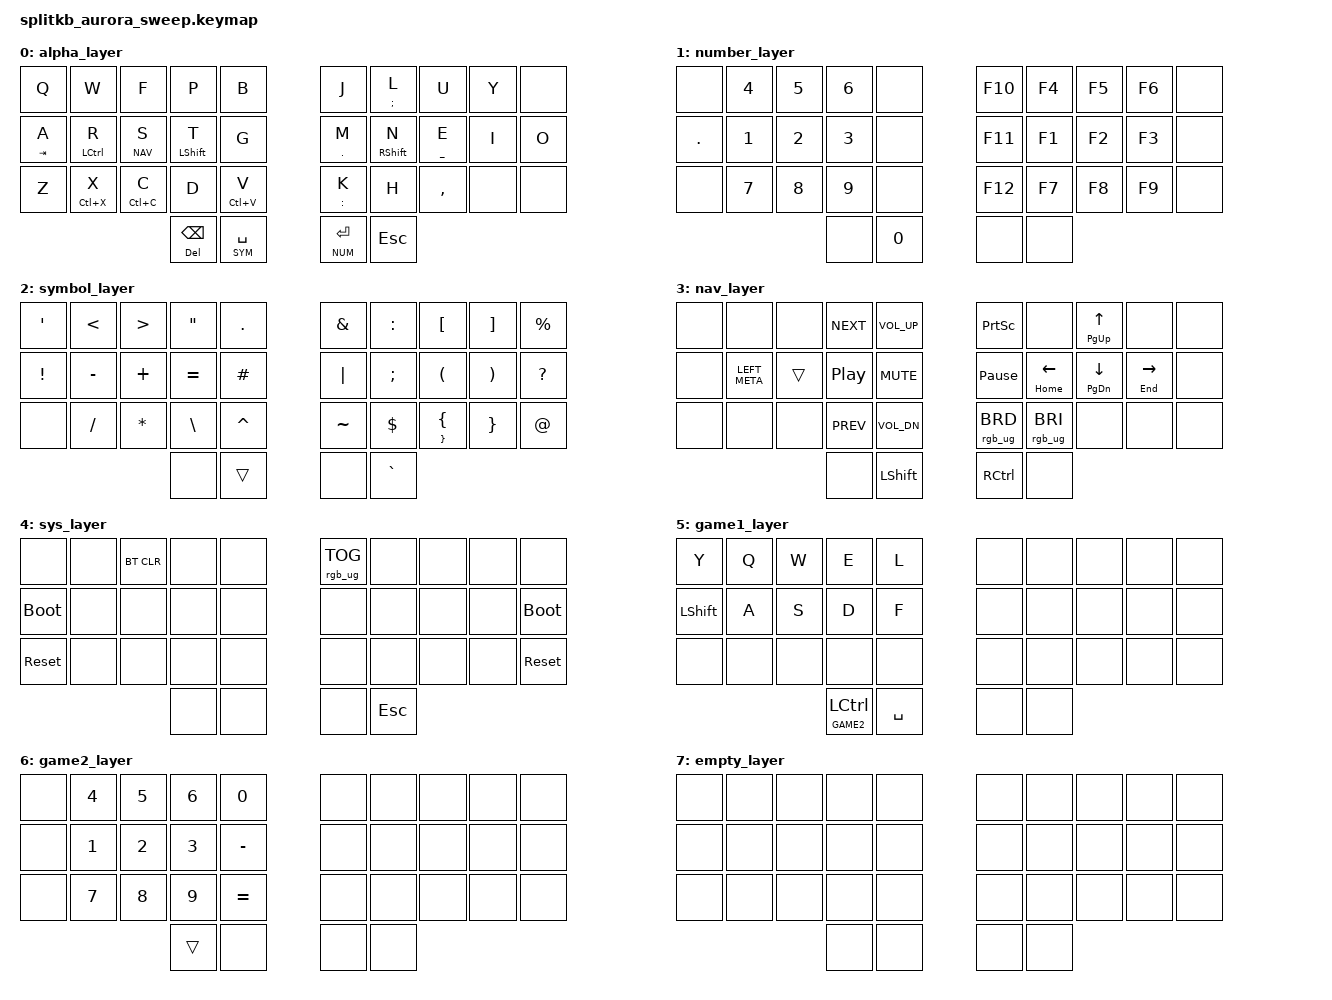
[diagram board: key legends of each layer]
#include <behaviors.dtsi>
// Key Macros
#include <dt-bindings/zmk/keys.h>
// Behavior Macros
#include <dt-bindings/zmk/bt.h>
// Underglow Macros
#include <dt-bindings/zmk/rgb.h>
// Backlight Macros
#include <dt-bindings/zmk/backlight.h>

/*
Codes (https://zmk.dev/docs/codes)
Behaviors (https://zmk.dev/docs/behaviors)
    Keys
        `&kp <ID>` Key Press
        `&mt <ID1> <ID2>` Mod Tap
            Tap to send ID2, Hold to send ID1
        `&kt <ID>` Key Toggle
            e.g. `&kt LA(TAB)` would toggle TAB by sending ALT+TAB
        `&sk <ID>` Sticky Key
            e.g. `&sk LSHIFT` stick SHIFT until another key is pressed
            note: this releases the layer when another key is pressed (not released)
        `&gresc` Grave Escape; sends ` (grave accent) if shift or GUI is held, otherwise sends ESCAPE
        `&caps_word` Capitalizes any input sent until the word is finished (anything thats not alphanumeric, underscore, backspace, or delete)
        `&key_repeat` Key Repeat (sends the last input again)
   
    Misc
        `&trans` Transparent, pass input to next layer down
        `&none` None, consume input w/o sending anything
    
    Layers
        `&mo <NUM>` Momentary Layer, enables a layer while the key is held
        `&lt <NUM> <ID>` Layer Tap, enables a layer while held and sends a key `ID` when tapped
        `&to <NUM>` To Layer, enables a specific layer and disables all other layers except default
        `&tog <NUM>` Toggle Layer, enables a layer until it is explicitly disabled
        `&sl <NUM>` Sticky Layer, keep a layer active until another key is pressed
            note: this releases the layer when another key is released (not pressed)
    
    Mouse
        `&mkp <MOUSE_BTN>` Mouse Button Press, emulates a mouse button
            MOUSE_BTN can be: MB1/LCLK (Left Click), MB2/RCLK (Right Click), MB3/MCLK (Middle Click), MB4 (Mouse Button 4), MB5 (Mouse Button 5)
    
    Resetting
        `&sys_reset` Reset, clears keyboard and loads from firmware
        `&bootloader` Bootloader, resets the keyboard and activates bootloader mode to receive firmware
    
    Output Selection
        `&bt <OP> [arg]` Bluetooth, performs a bluetooth operation
            `&bt BT_CLR` clears the paired host on current profile
            `&bt BT_NXT` selects the next profile
            `&bt BT_PRV` selects the previous profile
            `&bt BT_SEL <num>` selects a specific profile using 0-indexed id
            ZMK support bluetooth “profiles” which allows connection to multiple devices (5 by default). Each profile stores the bluetooth MAC address of a peer, which can be empty if a profile has not been paired with a device yet.
        `&out <OP>` Select Output, OUT_USB (usb cable), OUT_BLE (bluetooth), or OUT_TOG (toggling between the options)

    Lighting (https://zmk.dev/docs/behaviors/underglow, https://zmk.dev/docs/behaviors/backlight)
        `&rgb_ug <OP> [arg]` Underglow RGB controls
        `&bl <OP> [arg]` Backlight controls

    Power Management
        `&ext_power <EP_OFF/EP_ON,EP_TOG>` External power controls (like disabling LEDs)
        `&soft_off` Turns off the keyboard
*/

// Inspirations:
// Colemak Mod-DH https://colemakmods.github.io/mod-dh/
// Phonty https://www.reddit.com/r/ErgoMechKeyboards/comments/sbbgxp/pnohty_12_update/
// Chordic https://www.reddit.com/r/crkbd/comments/us6ucr/chordic_keyboard_layout_for_the_cornecrkbd/
// Getreuer Symbols https://getreuer.info/posts/keyboards/symbol-layer/index.html
// https://www.reddit.com/r/ErgoMechKeyboards/comments/1ctqurf/new_programming_layout_thoughts/

/* NOTES:
	change default behavior; currently if I start pressing key 1 w/ a hold behavior and also press another key 2
	before the hold-behavior threshold, the hold binding is activated on key 1 instead of the tap. I want to
	interrupt a hold to process the tap behavior.
*/

/* Supported Shortcuts
	Ctrl+A (select all)
	Ctrl+C (copy)
	Ctrl+X (cut)
	Ctrl+V (paste)
	Ctrl+Z (undo)
	Ctrl+T (tab)
	Ctrl+S (save)
	Ctrl+D (duplicate or diff)
	Ctrl+B (Build)
	Ctrl+F & Ctrl+Shift+F (find)
	Ctrl+Shift+[letter]

	Ctrl+Shift+Arrow (nav layer; both thumbs hold)
*/

/* Omitted Bindings
	Insert
	Num & Scroll Lock
*/

/* LAYOUT
//╭───────────────┰───────────────┰───────────────┰───────────────┰───────────────╮╭───────────────┰───────────────┰───────────────┰───────────────┰───────────────╮
			00:pinky1.L      01:ring1.L      02:middle1.L    03:indexB1.L     04:indexA1.L       05:indexA1.R     06:indexB1.R     07:middle1.R      08:ring1.R      09:pinky1.R
//┠───────────────╂───────────────╂───────────────╂───────────────╂───────────────┨┠───────────────╂───────────────╂───────────────╂───────────────╂───────────────┨
			10:pinky2.L      11:ring2.L      12:middle2.L    13:indexB2.L     14:indexA2.L       15:indexA2.R     16:indexB2.R     17:middle2.R      18:ring2.R      19:pinky2.R
//┠───────────────╂───────────────╂───────────────╂───────────────╂───────────────┨┠───────────────╂───────────────╂───────────────╂───────────────╂───────────────┨
			20:pinky3.L      21:ring3.L      22:middle3.L    23:indexB3.L     24:indexA3.L       25:indexA3.R     26:indexB3.R     27:middle3.R      28:ring3.R      29:pinky3.R
//┠───────────────╂───────────────╂───────────────╂───────────────╂───────────────┨┠───────────────╂───────────────╂───────────────╂───────────────╂───────────────┨
																												30:thumbB.L      31:thumbA.L        32:thumbA.R      33:thumbB.R
//┖───────────────┸───────────────┸───────────────┸───────────────┸───────────────┚┖───────────────┸───────────────┸───────────────┸───────────────┸───────────────┚
*/

#define DEFAULT 0
#define ALPHA 0
#define NUM 1
#define SYM 2
#define NAV 3
#define SYS 4
#define GAME1 5 // NOTE: max F24
#define GAME2 6 // NOTE: max F24

#define pinky1L 0
#define ring1L 1
#define middle1L 2
#define indexB1L 3
#define indexA1L 4
#define indexA1R 5
#define indexB1R 6
#define middle1R 7
#define ring1R 8
#define pinky1R 9
#define pinky2L 10
#define ring2L 11
#define middle2L 12
#define indexB2L 13
#define indexA2L 14
#define indexA2R 15
#define indexB2R 16
#define middle2R 17
#define ring2R 18
#define pinky2R 19
#define pinky3L 20
#define ring3L 21
#define middle3L 22
#define indexB3L 23
#define indexA3L 24
#define indexA3R 25
#define indexB3R 26
#define middle3R 27
#define ring3R 28
#define pinky3R 29
#define thumbBL 30
#define thumbAL 31
#define thumbAR 32
#define thumbBR 33

// Aurora Sweep doesn't use backlight feature, instead all LEDs (under board and under each key) are individually accessible.
// There are 6 under the board and 17 under-keys (this is per side).
&led_strip {
    chain-length = <23>;
};

/ {    
    chosen {
        zmk,underglow = &led_strip;
    };

    macros {
        lhf21: layer_hold_f21 {
            compatible = "zmk,behavior-macro-two-param";
            #binding-cells = <2>;
            bindings
                = <&macro_param_1to1>
                , <&macro_press &mo MACRO_PLACEHOLDER &kp F21>
                , <&macro_pause_for_release>
                , <&macro_param_1to1>
                , <&macro_release &mo MACRO_PLACEHOLDER &kp F21>
                ;
        };
        lhf22: layer_hold_f22 {
            compatible = "zmk,behavior-macro-two-param";
            #binding-cells = <2>;
            bindings
                = <&macro_param_1to1>
                , <&macro_press &mo MACRO_PLACEHOLDER &kp F22>
                , <&macro_pause_for_release>
                , <&macro_param_1to1>
                , <&macro_release &mo MACRO_PLACEHOLDER &kp F22>
                ;
        };
        lhf23: layer_hold_f23 {
            compatible = "zmk,behavior-macro-two-param";
            #binding-cells = <2>;
            bindings
                = <&macro_param_1to1>
                , <&macro_press &mo MACRO_PLACEHOLDER &kp F23>
                , <&macro_pause_for_release>
                , <&macro_param_1to1>
                , <&macro_release &mo MACRO_PLACEHOLDER &kp F23>
                ;
        };
    };
    behaviors {
        ltf21: layer-tap-signaled-f21 {
            compatible = "zmk,behavior-hold-tap";
            #binding-cells = <2>;
            flavor = "tap-preferred";
            tapping-term-ms = <200>;
            quick-tap-ms = <200>;
            bindings = <&lhf21>, <&kp>;
        };
        ltf22: layer-tap-signaled-f22 {
            compatible = "zmk,behavior-hold-tap";
            #binding-cells = <2>;
            flavor = "tap-preferred";
            tapping-term-ms = <200>;
            quick-tap-ms = <200>;
            bindings = <&lhf22>, <&kp>;
        };
        ltf23: layer-tap-signaled-f23 {
            compatible = "zmk,behavior-hold-tap";
            #binding-cells = <2>;
            flavor = "tap-preferred";
            tapping-term-ms = <200>;
            quick-tap-ms = <200>;
            bindings = <&lhf23>, <&kp>;
        };
    };

    combos {
        compatible = "zmk,combos";

        combo_win {
            timeout-ms = <50>;
            key-positions = <thumbAL thumbBL>;
            bindings = <&kp LWIN>;
        };

        combo_capslock {
            timeout-ms = <50>;
            layers = <ALPHA>;
            key-positions = <indexA1L indexA1R>;
            bindings = <&kp CAPS>;
        };

        combo_capsword {
            timeout-ms = <50>;
            layers = <ALPHA>;
            key-positions = <indexA2L indexA2R>;
            bindings = <&caps_word>;
        };

				// Entering SYS layer using sticky (exit after 1 key press)
        combo_layer_sys {
            timeout-ms = <50>;
            layers = <ALPHA>;
            key-positions = <pinky1L pinky1R>;
            bindings = <&sl SYS>;
        };
    };

    keymap {
        compatible = "zmk,keymap";

        // 0: Default/Alpha - Colmak-DH
        ///*
        alpha_layer {
            bindings = <
        //╭───────────────┰───────────────┰───────────────┰───────────────┰───────────────╮╭───────────────┰───────────────┰───────────────┰───────────────┰───────────────╮
            &kp Q           &kp W            &kp F            &kp P            &kp B             &kp J            &mt SEMI L       &kp U            &kp Y            &none
        //┠───────────────╂───────────────╂───────────────╂───────────────╂───────────────┨┠───────────────╂───────────────╂───────────────╂───────────────╂───────────────┨
            &mt TAB A       &mt LCTRL R      &ltf23 NAV S     &mt LSHFT T      &kp G             &mt DOT M        &mt RSHFT N      &mt UNDER E      &kp I            &kp O
        //┠───────────────╂───────────────╂───────────────╂───────────────╂───────────────┨┠───────────────╂───────────────╂───────────────╂───────────────╂───────────────┨
            &kp Z           &mt LC(X) X      &mt LC(C) C      &kp D            &mt LC(V) V       &mt COLON K      &kp H            &kp COMMA        &none            &none
        //┠───────────────╂───────────────╂───────────────╂───────────────╂───────────────┨┠───────────────╂───────────────╂───────────────╂───────────────╂───────────────┨
                                                              &mt DEL BSPC    &ltf22 SYM SPACE   &ltf21 NUM RET   &kp ESC
        //┖───────────────┸───────────────┸───────────────┸───────────────┸───────────────┚┖───────────────┸───────────────┸───────────────┸───────────────┸───────────────┚
            >;
        };
        //*/

        // 0: Default/Alpha - QWERTY
        /*
        alpha_layer {
            bindings = <
        //╭───────────────┰───────────────┰───────────────┰───────────────┰───────────────╮╭───────────────┰───────────────┰───────────────┰───────────────┰───────────────╮
            &kp Q           &kp W            &kp E            &kp R            &kp T             &kp Y            &mt SEMI U       &kp I            &kp P            &none
        //┠───────────────╂───────────────╂───────────────╂───────────────╂───────────────┨┠───────────────╂───────────────╂───────────────╂───────────────╂───────────────┨
            &mt TAB A       &mt LCTRL S      &ltf23 NAV D     &mt LSHFT F      &kp G             &mt DOT H        &mt RSHFT J      &mt UNDER K      &kp L            &kp O
        //┠───────────────╂───────────────╂───────────────╂───────────────╂───────────────┨┠───────────────╂───────────────╂───────────────╂───────────────╂───────────────┨
            &kp Z           &mt LC(X) X      &mt LC(C) C      &mt LC(V) V      &kp B             &mt COLON N      &kp M            &kp COMMA        &none            &none
        //┠───────────────╂───────────────╂───────────────╂───────────────╂───────────────┨┠───────────────╂───────────────╂───────────────╂───────────────╂───────────────┨
                                                              &mt DEL BSPC    &ltf22 SYM SPACE   &ltf21 NUM RET   &kp ESC
        //┖───────────────┸───────────────┸───────────────┸───────────────┸───────────────┚┖───────────────┸───────────────┸───────────────┸───────────────┸───────────────┚
            >;
        };
        */

        // 1: Numbers & Function
        number_layer {
            bindings = <
        //╭───────────────┰───────────────┰───────────────┰───────────────┰───────────────╮╭───────────────┰───────────────┰───────────────┰───────────────┰───────────────╮
            &none           &kp N4           &kp N5           &kp N6           &none             &kp F10          &kp F4           &kp F5           &kp F6           &none
        //┠───────────────╂───────────────╂───────────────╂───────────────╂───────────────┨┠───────────────╂───────────────╂───────────────╂───────────────╂───────────────┨
            &kp DOT         &kp N1           &kp N2           &kp N3           &none             &kp F11          &kp F1           &kp F2           &kp F3           &none
        //┠───────────────╂───────────────╂───────────────╂───────────────╂───────────────┨┠───────────────╂───────────────╂───────────────╂───────────────╂───────────────┨
            &none           &kp N7           &kp N8           &kp N9           &none             &kp F12          &kp F7           &kp F8           &kp F9           &none
        //┠───────────────╂───────────────╂───────────────╂───────────────╂───────────────┨┠───────────────╂───────────────╂───────────────╂───────────────╂───────────────┨
                                                              &none            &kp N0            &none            &none
        //┖───────────────┸───────────────┸───────────────┸───────────────┸───────────────┚┖───────────────┸───────────────┸───────────────┸───────────────┸───────────────┚
            >; 
        };

        // 2: Symbols
        symbol_layer {
            bindings = <
        //╭───────────────┰───────────────┰───────────────┰───────────────┰───────────────╮╭───────────────┰───────────────┰───────────────┰───────────────┰───────────────╮
            &kp SQT         &kp LT           &kp GT           &kp DQT          &kp DOT           &kp AMPS         &kp COLON        &kp LBKT         &kp RBKT        &kp PERCENT
        //┠───────────────╂───────────────╂───────────────╂───────────────╂───────────────┨┠───────────────╂───────────────╂───────────────╂───────────────╂───────────────┨
            &kp EXCL        &kp MINUS        &kp PLUS         &kp EQUAL        &kp HASH          &kp PIPE         &kp SEMI         &kp LPAR         &kp RPAR        &kp QMARK
        //┠───────────────╂───────────────╂───────────────╂───────────────╂───────────────┨┠───────────────╂───────────────╂───────────────╂───────────────╂───────────────┨
            &none           &kp FSLH         &kp STAR         &kp BSLH         &kp CARET         &kp TILDE        &kp DOLLAR       &mt RBRC LBRC    &kp RBRC        &kp AT
        //┠───────────────╂───────────────╂───────────────╂───────────────╂───────────────┨┠───────────────╂───────────────╂───────────────╂───────────────╂───────────────┨
                                                              &none            &trans            &none            &kp GRAVE
        //┖───────────────┸───────────────┸───────────────┸───────────────┸───────────────┚┖───────────────┸───────────────┸───────────────┸───────────────┸───────────────┚
            >;
        };

        // 3: Navigation
        nav_layer {
            bindings = <
        //╭───────────────┰───────────────┰───────────────┰───────────────┰───────────────╮╭───────────────┰───────────────┰───────────────┰───────────────┰───────────────╮
            &none           &none            &none            &kp C_NEXT       &kp C_VOL_UP      &kp PSCRN        &none            &mt PG_UP UP     &none            &none
        //┠───────────────╂───────────────╂───────────────╂───────────────╂───────────────┨┠───────────────╂───────────────╂───────────────╂───────────────╂───────────────┨
            &none	          &kp LEFT_META    &trans           &kp C_PLAY_PAUSE &kp C_MUTE        &kp PAUSE_BREAK  &mt HOME LEFT    &mt PG_DN DOWN   &mt END RIGHT    &none
        //┠───────────────╂───────────────╂───────────────╂───────────────╂───────────────┨┠───────────────╂───────────────╂───────────────╂───────────────╂───────────────┨
            &none           &none            &none            &kp C_PREV       &kp C_VOL_DN      &rgb_ug RGB_BRD  &rgb_ug RGB_BRI  &none            &none            &none
        //┠───────────────╂───────────────╂───────────────╂───────────────╂───────────────┨┠───────────────╂───────────────╂───────────────╂───────────────╂───────────────┨
                                                              &none            &kp LSHIFT        &kp RCTRL        &none
        //┖───────────────┸───────────────┸───────────────┸───────────────┸───────────────┚┖───────────────┸───────────────┸───────────────┸───────────────┸───────────────┚
            >;
        };

        // 4: System
        sys_layer {
            bindings = <
        //╭───────────────┰───────────────┰───────────────┰───────────────┰───────────────╮╭───────────────┰───────────────┰───────────────┰───────────────┰───────────────╮
            &none           &none            &bt BT_CLR       &none            &none             &rgb_ug RGB_TOG  &none            &none            &none            &none
        //┠───────────────╂───────────────╂───────────────╂───────────────╂───────────────┨┠───────────────╂───────────────╂───────────────╂───────────────╂───────────────┨
            &bootloader     &none            &none            &none            &none             &none            &none            &none            &none            &bootloader   
        //┠───────────────╂───────────────╂───────────────╂───────────────╂───────────────┨┠───────────────╂───────────────╂───────────────╂───────────────╂───────────────┨
            &sys_reset      &none            &none            &none            &none             &none            &none            &none            &none            &sys_reset    
        //┠───────────────╂───────────────╂───────────────╂───────────────╂───────────────┨┠───────────────╂───────────────╂───────────────╂───────────────╂───────────────┨
                                                              &none            &none             &none            &kp ESC
        //┖───────────────┸───────────────┸───────────────┸───────────────┸───────────────┚┖───────────────┸───────────────┸───────────────┸───────────────┸───────────────┚
            >;
        };

        // 5: Game p.1
        // TODO: Combo to enter mode
        // TODO: Combo to exit mode
        /* Supported Games:
            Stardew
                ☑ WASD (move)
                ☑ E (menu)
                ☑ F (journal)
                ☑ L (to-dew list)
                ☑ 0-9, -, = (toolbar hotkey)
                ☒ M (map)
                ☒ Y (emote)
                ☒ Tab (toolbar cycle)
                ☒ Left Shift (run)
                ☒ T (chat)
                ☒ F4 (screenshot)
        */
        game1_layer {
            bindings = <
        //╭───────────────┰───────────────┰───────────────┰───────────────┰───────────────╮╭───────────────┰───────────────┰───────────────┰───────────────┰───────────────╮
            &kp Y           &kp Q            &kp W            &kp E            &kp L             &none            &none            &none            &none            &none
        //┠───────────────╂───────────────╂───────────────╂───────────────╂───────────────┨┠───────────────╂───────────────╂───────────────╂───────────────╂───────────────┨
            &kp LSHIFT      &kp A            &kp S            &kp D            &kp F             &none            &none            &none            &none            &none
        //┠───────────────╂───────────────╂───────────────╂───────────────╂───────────────┨┠───────────────╂───────────────╂───────────────╂───────────────╂───────────────┨
            &none           &none            &none            &none            &none             &none            &none            &none            &none            &none
        //┠───────────────╂───────────────╂───────────────╂───────────────╂───────────────┨┠───────────────╂───────────────╂───────────────╂───────────────╂───────────────┨
                                                              &lt GAME2 LCTRL  &kp SPACE         &none            &none
        //┖───────────────┸───────────────┸───────────────┸───────────────┸───────────────┚┖───────────────┸───────────────┸───────────────┸───────────────┸───────────────┚
            >;
        };

        // 6: Game p.2
        game2_layer {
            bindings = <
        //╭───────────────┰───────────────┰───────────────┰───────────────┰───────────────╮╭───────────────┰───────────────┰───────────────┰───────────────┰───────────────╮
            &none           &kp N4           &kp N5           &kp N6           &kp N0            &none            &none            &none            &none            &none
        //┠───────────────╂───────────────╂───────────────╂───────────────╂───────────────┨┠───────────────╂───────────────╂───────────────╂───────────────╂───────────────┨
            &none           &kp N1           &kp N2           &kp N3           &kp MINUS         &none            &none            &none            &none            &none
        //┠───────────────╂───────────────╂───────────────╂───────────────╂───────────────┨┠───────────────╂───────────────╂───────────────╂───────────────╂───────────────┨
            &none           &kp N7           &kp N8           &kp N9           &kp EQUAL         &none            &none            &none            &none            &none
        //┠───────────────╂───────────────╂───────────────╂───────────────╂───────────────┨┠───────────────╂───────────────╂───────────────╂───────────────╂───────────────┨
                                                              &trans           &none             &none            &none
        //┖───────────────┸───────────────┸───────────────┸───────────────┸───────────────┚┖───────────────┸───────────────┸───────────────┸───────────────┸───────────────┚
            >;
        };

        empty_layer {
            bindings = <
        //╭───────────────┰───────────────┰───────────────┰───────────────┰───────────────╮╭───────────────┰───────────────┰───────────────┰───────────────┰───────────────╮
            &none           &none            &none            &none            &none             &none            &none            &none            &none            &none
        //┠───────────────╂───────────────╂───────────────╂───────────────╂───────────────┨┠───────────────╂───────────────╂───────────────╂───────────────╂───────────────┨
            &none           &none            &none            &none            &none             &none            &none            &none            &none            &none
        //┠───────────────╂───────────────╂───────────────╂───────────────╂───────────────┨┠───────────────╂───────────────╂───────────────╂───────────────╂───────────────┨
            &none           &none            &none            &none            &none             &none            &none            &none            &none            &none
        //┠───────────────╂───────────────╂───────────────╂───────────────╂───────────────┨┠───────────────╂───────────────╂───────────────╂───────────────╂───────────────┨
                                                              &none            &none             &none            &none
        //┖───────────────┸───────────────┸───────────────┸───────────────┸───────────────┚┖───────────────┸───────────────┸───────────────┸───────────────┸───────────────┚
            >;
        };

    };
};
